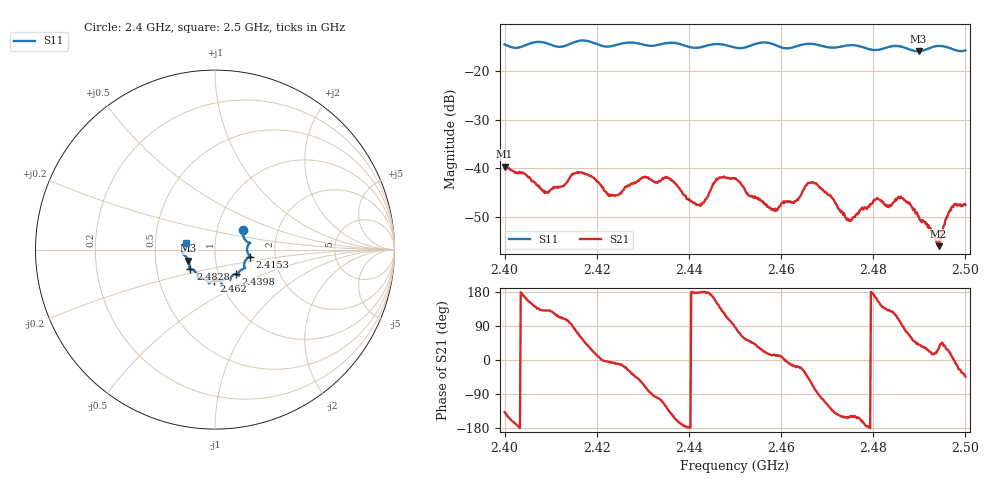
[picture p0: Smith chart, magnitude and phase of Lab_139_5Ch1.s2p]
# Hz S RI R 50
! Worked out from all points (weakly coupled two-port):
!   601 points, 2.4 GHz to 2.5 GHz, reference 50 ohm
!   highest |S21| = -39.60 dB at 2.4 GHz (marker M1); lowest = -56.0 dB at 2.4942 GHz (marker M2)
!   lowest |S11| = -15.9 dB at 2.4898 GHz (marker M3), VSWR 1.38, Z = 36.9 - j4.62 ohm
!   |S11| at or under -10 dB: start of sweep to end of sweep
!   S12 and S22 are empty: the file has one direction only
!   S11 on the Smith chart (normalised r, x): 2.4 GHz: 1.33, +0.29; 2.4153 GHz: 1.48, -0.12; 2.4398 GHz: 1.21, -0.34; 2.462 GHz: 0.93, -0.33; 2.4828 GHz: 0.74, -0.17; 2.5 GHz: 0.72, +0.06
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2.4e9  0.1553 0.1068  -0.0077 -0.00709  0 0  0 0
2.409167e9  0.1908 0.0333  -0.00368 0.00432  0 0  0 0
2.415333e9  0.1966 -0.0391  0.00171 0.00875  0 0  0 0
2.416667e9  0.2024 -0.0431  0.00474 0.00777  0 0  0 0
2.423e9  0.1631 -0.0764  0.00537 -0.000463  0 0  0 0
2.433333e9  0.1308 -0.1334  -0.00138 -0.00719  0 0  0 0
2.439833e9  0.1155 -0.136  -0.00487 -0.000259  0 0  0 0
2.442667e9  0.0908 -0.1516  -0.00433 8.99e-05  0 0  0 0
2.446333e9  0.085 -0.1703  -0.00653 0.00435  0 0  0 0
2.45e9  0.0655 -0.1624  0.000478 0.00784  0 0  0 0
2.458e9  0.0373 -0.188  0.00365 0.00079  0 0  0 0
2.462e9  -0.00516 -0.173  0.00453 -0.000788  0 0  0 0
2.466667e9  -0.0344 -0.1881  0.00331 -0.00645  0 0  0 0
2.474667e9  -0.0915 -0.1605  -0.00253 -0.00144  0 0  0 0
2.4805e9  -0.1142 -0.1192  -0.00464 0.00126  0 0  0 0
2.482833e9  -0.1366 -0.1091  -0.00291 0.00306  0 0  0 0
2.483333e9  -0.1404 -0.1089  -0.00268 0.00297  0 0  0 0
2.486e9  -0.1459 -0.1043  -0.000672 0.00511  0 0  0 0
2.489833e9  -0.1481 -0.0611  0.00244 0.00214  0 0  0 0
2.494167e9  -0.1807 -0.0221  0.00138 0.000783  0 0  0 0
2.497167e9  -0.1688 -0.00567  0.00403 0.000545  0 0  0 0
2.5e9  -0.1592 0.0388  0.00306 -0.00291  0 0  0 0
